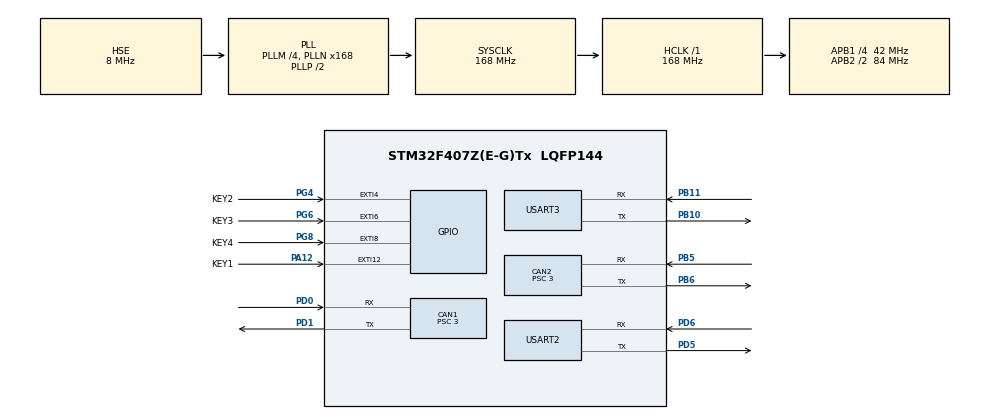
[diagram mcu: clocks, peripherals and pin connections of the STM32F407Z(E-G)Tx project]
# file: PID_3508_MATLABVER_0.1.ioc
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CAN1.BS1=CAN_BS1_9TQ
CAN1.BS2=CAN_BS2_4TQ
CAN1.CalculateBaudRate=1000000
CAN1.CalculateTimeBit=1000
CAN1.CalculateTimeQuantum=71.42857142857143
CAN1.Prescaler=3
CAN2.BS1=CAN_BS1_9TQ
CAN2.BS2=CAN_BS2_4TQ
CAN2.CalculateBaudRate=1000000
CAN2.CalculateTimeBit=1000
CAN2.CalculateTimeQuantum=71.42857142857143
CAN2.Prescaler=3
Dma.Request0=USART3_RX
Dma.Request1=USART3_TX
Dma.USART3_RX.0.Direction=DMA_PERIPH_TO_MEMORY
Dma.USART3_RX.0.FIFOMode=DMA_FIFOMODE_DISABLE
Dma.USART3_RX.0.Instance=DMA1_Stream1
Dma.USART3_RX.0.MemDataAlignment=DMA_MDATAALIGN_BYTE
Dma.USART3_RX.0.MemInc=DMA_MINC_ENABLE
Dma.USART3_RX.0.Mode=DMA_NORMAL
Dma.USART3_RX.0.PeriphDataAlignment=DMA_PDATAALIGN_BYTE
Dma.USART3_RX.0.PeriphInc=DMA_PINC_DISABLE
Dma.USART3_RX.0.Priority=DMA_PRIORITY_LOW
Dma.USART3_TX.1.Direction=DMA_MEMORY_TO_PERIPH
Dma.USART3_TX.1.FIFOMode=DMA_FIFOMODE_DISABLE
Dma.USART3_TX.1.Instance=DMA1_Stream3
Dma.USART3_TX.1.MemDataAlignment=DMA_MDATAALIGN_BYTE
Dma.USART3_TX.1.MemInc=DMA_MINC_ENABLE
Dma.USART3_TX.1.Mode=DMA_NORMAL
Dma.USART3_TX.1.PeriphDataAlignment=DMA_PDATAALIGN_BYTE
Dma.USART3_TX.1.PeriphInc=DMA_PINC_DISABLE
Dma.USART3_TX.1.Priority=DMA_PRIORITY_LOW
IWDG.Prescaler=IWDG_PRESCALER_64
IWDG.Reload=625
Mcu.Family=STM32F4
Mcu.Name=STM32F407Z(E-G)Tx
Mcu.Package=LQFP144
NVIC.CAN1_RX0_IRQn=true\:2\:0\:true\:false\:true\:true\:true\:true
NVIC.CAN1_TX_IRQn=true\:2\:0\:true\:false\:true\:true\:true\:true
NVIC.CAN2_RX0_IRQn=true\:0\:0\:false\:false\:true\:true\:true\:true
NVIC.CAN2_TX_IRQn=true\:0\:0\:false\:false\:true\:true\:true\:true
NVIC.DMA1_Stream1_IRQn=true\:0\:0\:false\:false\:true\:false\:true\:true
NVIC.DMA1_Stream3_IRQn=true\:0\:0\:false\:false\:true\:false\:true\:true
NVIC.EXTI15_10_IRQn=true\:4\:0\:true\:false\:true\:true\:true\:true
NVIC.EXTI4_IRQn=true\:4\:0\:true\:false\:true\:true\:true\:true
NVIC.EXTI9_5_IRQn=true\:4\:0\:true\:false\:true\:true\:true\:true
NVIC.PriorityGroup=NVIC_PRIORITYGROUP_4
NVIC.TIM1_UP_TIM10_IRQn=true\:1\:0\:true\:false\:true\:true\:true\:true
NVIC.USART2_IRQn=true\:2\:0\:true\:false\:true\:true\:true\:true
NVIC.USART3_IRQn=true\:2\:0\:true\:false\:true\:true\:true\:true
PA12.GPIO_Label=KEY1
PA12.GPIO_ModeDefaultEXTI=GPIO_MODE_IT_FALLING
PA12.GPIO_PuPd=GPIO_PULLUP
PA12.Signal=GPXTI12
PA13.Mode=Serial_Wire
PA13.Signal=SYS_JTMS-SWDIO
PA14.Mode=Serial_Wire
PA14.Signal=SYS_JTCK-SWCLK
PB10.Mode=Asynchronous
PB10.Signal=USART3_TX
PB11.Mode=Asynchronous
PB11.Signal=USART3_RX
PB5.Mode=CAN_Activate
PB5.Signal=CAN2_RX
PB6.Mode=CAN_Activate
PB6.Signal=CAN2_TX
PD0.Mode=CAN_Activate
PD0.Signal=CAN1_RX
PD1.Mode=CAN_Activate
PD1.Signal=CAN1_TX
PD5.Mode=Asynchronous
PD5.Signal=USART2_TX
PD6.Mode=Asynchronous
PD6.Signal=USART2_RX
PG4.GPIO_Label=KEY2
PG4.GPIO_ModeDefaultEXTI=GPIO_MODE_IT_FALLING
PG4.GPIO_PuPd=GPIO_PULLUP
PG4.Signal=GPXTI4
PG6.GPIO_Label=KEY3
PG6.GPIO_ModeDefaultEXTI=GPIO_MODE_IT_FALLING
PG6.GPIO_PuPd=GPIO_PULLUP
PG6.Signal=GPXTI6
PG8.GPIO_Label=KEY4
PG8.GPIO_ModeDefaultEXTI=GPIO_MODE_IT_FALLING
PG8.GPIO_PuPd=GPIO_PULLUP
PG8.Signal=GPXTI8
PH0-OSC_IN.Mode=HSE-External-Oscillator
PH0-OSC_IN.Signal=RCC_OSC_IN
PH1-OSC_OUT.Mode=HSE-External-Oscillator
PH1-OSC_OUT.Signal=RCC_OSC_OUT
ProjectManager.HeapSize=0x200
ProjectManager.StackSize=0x400
ProjectManager.TargetToolchain=MDK-ARM V5.32
RCC.48MHZClocksFreq_Value=84000000
RCC.AHBFreq_Value=168000000
RCC.APB1CLKDivider=RCC_HCLK_DIV4
RCC.APB1Freq_Value=42000000
RCC.APB1TimFreq_Value=84000000
RCC.APB2CLKDivider=RCC_HCLK_DIV2
RCC.APB2Freq_Value=84000000
RCC.APB2TimFreq_Value=168000000
RCC.CortexFreq_Value=168000000
RCC.HCLKFreq_Value=168000000
RCC.HSE_VALUE=8000000
RCC.HSI_VALUE=16000000
RCC.LSE_VALUE=32768
RCC.PLLM=4
RCC.PLLN=168
RCC.PLLSourceVirtual=RCC_PLLSOURCE_HSE
RCC.SYSCLKFreq_VALUE=168000000
RCC.SYSCLKSource=RCC_SYSCLKSOURCE_PLLCLK
RCC.VCOOutputFreq_Value=336000000
STMicroelectronics.X-CUBE-ALGOBUILD.1.3.0.LibraryCcDSPOoLibraryJjDSPOoLibrary=true
TIM10.AutoReloadPreload=TIM_AUTORELOAD_PRELOAD_ENABLE
TIM10.Period=1000-1
TIM10.Prescaler=168-1
USART2.VirtualMode=VM_ASYNC
USART3.VirtualMode=VM_ASYNC
VP_IWDG_VS_IWDG.Mode=IWDG_Activate
VP_STMicroelectronics.X-CUBE-ALGOBUILD_VS_DSPOoLibraryJjLibrary_1.3.0_1.3.0.Mode=DSPOoLibraryJjLibrary
VP_TIM10_VS_ClockSourceINT.Mode=Enable_Timer
board=custom

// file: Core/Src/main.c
/* USER CODE BEGIN Header */
/**
  ******************************************************************************
  * @file           : main.c
  * @brief          : Main program body
  ******************************************************************************
  * @attention
  *
  * Copyright (c) 2023 STMicroelectronics.
  * All rights reserved.
  *
  * This software is licensed under terms that can be found in the LICENSE file
  * in the root directory of this software component.
  * If no LICENSE file comes with this software, it is provided AS-IS.
  *
  ******************************************************************************
  */
/* USER CODE END Header */
#include "main.h"
#include "can.h"
#include "dma.h"
#include "iwdg.h"
#include "tim.h"
#include "usart.h"
#include "gpio.h"

/* USER CODE BEGIN Includes */

#include "pidctl.h"
#include "arm_math.h"
#include "bsp_can.h"
#include "motorctrl.h"
#include "stdio.h"
#include "CALCULATE.h"
#include "math.h"
#include "delay.h"
/* USER CODE END Includes */

/* USER CODE BEGIN PTD */
extern motor_measure_t   *motor_data[4];
extern motor_measure_t   *motor_data1[4];
extern ang_dir MotorSignal[4];
extern PhotogateAng ANGs;
typedef struct __FILE FILE;
/* USER CODE END PTD */

/* USER CODE BEGIN PD */

int receivefactor=0;
int factor=0;
int factor1=0;

int flag=0;
int flag1=0;
int dir[4];
int ang[4];
int angtemp[4];
int flagf[4];
double Vx,Vy,omega=0;

double theta[4];

double output0 = 0;
double output1 = 0;
double output2 = 0;
double output3 = 0;

double output4 = 0;
double output5 = 0;
double output6 = 0;
double output7 = 0;

DataPacket DataRe;
int16_t lx,ly,rx,ry,lp,rp;
uint8_t B1,B2;
uint8_t Cal_Parity;

double a,b,c,d=0;
uint8_t USART_FLAG=0;

/* USER CODE END PD */

void SystemClock_Config(void);

int main(void)
{

  /* MCU Configuration--------------------------------------------------------*/

  /* Reset of all peripherals, Initializes the Flash interface and the Systick. */
  HAL_Init();

  /* Configure the system clock */
  SystemClock_Config();

  /* Initialize all configured peripherals */
  MX_GPIO_Init();
  MX_DMA_Init();
  MX_CAN1_Init();
  MX_TIM10_Init();
  MX_USART3_UART_Init();
  MX_IWDG_Init();
  MX_CAN2_Init();
  MX_USART2_UART_Init();
  /* USER CODE BEGIN 2 */
	HAL_UART_Receive_DMA(&huart3, (uint8_t*)&DataRe, 1);
	pidctl_initialize();
	HAL_TIM_Base_Start_IT(&htim10); // ֐¶ϊ
	can_filter_init();
	HAL_CAN_Start(&hcan1);
	HAL_CAN_ActivateNotification(&hcan1, CAN_IT_RX_FIFO0_MSG_PENDING);
  HAL_CAN_Start(&hcan2);
	HAL_CAN_ActivateNotification(&hcan2, CAN_IT_RX_FIFO0_MSG_PENDING);

  /* USER CODE END 2 */

  /* Infinite loop */
  /* USER CODE BEGIN WHILE */

		pid3508(1.5, 0.3, 0.01);
		pid2006(1.5, 0.3, 0.01);
		Apid2006(0.5,0.1, 0.01);
//		Vx=2000;
//		Vy=2000;
//		while(ANGs.flag1!=1||ANGs.flag2!=1||ANGs.flag3!=1||ANGs.flag4!=1){
//			for(int i=0;i<4;i++)
//				MotorSignal[i].thetas=MotorSignal[i].thetas+0.1;
//		}
//				for(int i=0;i<4;i++)
//		ang[i]=ANGs.ang[i];

	while (1)
  {
for(int i=0;i<4;i++){
		if(ANGs.flag[i]!=1){
				MotorSignal[i].thetas=MotorSignal[i].thetas+0.003;

		}
}
					delay_us(100);
    /* USER CODE END WHILE */

  }
}

void SystemClock_Config(void)
{
  RCC_OscInitTypeDef RCC_OscInitStruct = {0};
  RCC_ClkInitTypeDef RCC_ClkInitStruct = {0};

  /** Configure the main internal regulator output voltage
  */
  __HAL_RCC_PWR_CLK_ENABLE();
  __HAL_PWR_VOLTAGESCALING_CONFIG(PWR_REGULATOR_VOLTAGE_SCALE1);

  /** Initializes the RCC Oscillators according to the specified parameters
  * in the RCC_OscInitTypeDef structure.
  */
  RCC_OscInitStruct.OscillatorType = RCC_OSCILLATORTYPE_LSI|RCC_OSCILLATORTYPE_HSE;
  RCC_OscInitStruct.HSEState = RCC_HSE_ON;
  RCC_OscInitStruct.LSIState = RCC_LSI_ON;
  RCC_OscInitStruct.PLL.PLLState = RCC_PLL_ON;
  RCC_OscInitStruct.PLL.PLLSource = RCC_PLLSOURCE_HSE;
  RCC_OscInitStruct.PLL.PLLM = 4;
  RCC_OscInitStruct.PLL.PLLN = 168;
  RCC_OscInitStruct.PLL.PLLP = RCC_PLLP_DIV2;
  RCC_OscInitStruct.PLL.PLLQ = 4;
  if (HAL_RCC_OscConfig(&RCC_OscInitStruct) != HAL_OK)
  {
    Error_Handler();
  }

  /** Initializes the CPU, AHB and APB buses clocks
  */
  RCC_ClkInitStruct.ClockType = RCC_CLOCKTYPE_HCLK|RCC_CLOCKTYPE_SYSCLK
                              |RCC_CLOCKTYPE_PCLK1|RCC_CLOCKTYPE_PCLK2;
  RCC_ClkInitStruct.SYSCLKSource = RCC_SYSCLKSOURCE_PLLCLK;
  RCC_ClkInitStruct.AHBCLKDivider = RCC_SYSCLK_DIV1;
  RCC_ClkInitStruct.APB1CLKDivider = RCC_HCLK_DIV4;
  RCC_ClkInitStruct.APB2CLKDivider = RCC_HCLK_DIV2;

  if (HAL_RCC_ClockConfig(&RCC_ClkInitStruct, FLASH_LATENCY_5) != HAL_OK)
  {
    Error_Handler();
  }
}

/* USER CODE BEGIN 4 */

//void HAL_UART_RxCpltCallback(UART_HandleTypeDef *huart)
//{
//		if(DataRe.header==0xAA)
//		{
//			CAL_MESSAGE();
//			HAL_UART_Receive_DMA(&huart3, (uint8_t*)&DataRe + 1, sizeof(DataPacket) - 1);
//		}
//		else if(DataRe.header!=0xAA)
//		{
//			HAL_UART_Receive_DMA(&huart3, (uint8_t*)&DataRe, 1);
//		}
//}
	void HAL_UART_RxCpltCallback(UART_HandleTypeDef *huart) {
		if (huart->Instance == USART3)
		{
			if(DataRe.header==0xAA && USART_FLAG==0)
			{
				CAL_MESSAGE();
				HAL_UART_Receive_DMA(&huart3, (uint8_t*)&DataRe+1, sizeof(DataPacket)-1);
				USART_FLAG=1;
			}
			if(DataRe.header==0xAA && USART_FLAG==1)
			{
				CAL_MESSAGE();
				HAL_UART_Receive_DMA(&huart3, (uint8_t*)&DataRe, sizeof(DataPacket));
			}
			else
			{
				HAL_UART_Receive_DMA(&huart3, (uint8_t*)&DataRe, 1);
				USART_FLAG=0;
			}
		}
		receivefactor=1;
	}

	//错误回调
	void HAL_UART_ErrorCallback(UART_HandleTypeDef *huart)
	{
		if (huart->Instance == USART3)
		{
			HAL_UART_Receive_DMA(&huart3, (uint8_t*)&DataRe, 1);
			USART_FLAG=0;
		}
	}

void HAL_TIM_PeriodElapsedCallback(TIM_HandleTypeDef *htim)
{

	if(htim == &htim10)
	{

		Vx=rx/9;
		Vy=ry/9;
		omega=lx/9;

for(int i=0;i<4;i++){
      if(ANGs.flag[i]==1&&flagf[i]!=1){
						ang[i]=ang[i]+ANGs.ang[i];
				    angtemp[i]=ANGs.ang[i];
						MotorSignal[i].thetas=0;
				    flagf[i]=1;
			}
		if(flagf[i]==1&&angtemp[i]<50)
		{
			ANGs.flag[i]=0;
			ANGs.ang[i]=0;
			flagf[i]=0;
		}
}
		if(fabs(Vx)>1000||fabs(Vy)>1000||fabs(omega)>1000){
		MotorSignal[0].thetan=atan2(Vy-omega*cos(atan(1.0/1.0)),(Vx-omega*sin(atan(1.0/1.0))))*180/PI;
		MotorSignal[1].thetan=atan2(Vy+omega*cos(atan(1.0/1.0)),(Vx-omega*sin(atan(1.0/1.0))))*180/PI;
		MotorSignal[2].thetan=atan2(Vy+omega*cos(atan(1.0/1.0)),Vx+omega*sin(atan(1.0/1.0)))*180/PI;
		MotorSignal[3].thetan=atan2(Vy-omega*cos(atan(1.0/1.0)),Vx+omega*sin(atan(1.0/1.0)))*180/PI;
			a=atan2(Vy-omega*cos(atan(1.0/1.0)),(Vx-omega*sin(atan(1.0/1.0))))*180/PI;
			for(int i=0;i<4;i++){
			if(fabs(MotorSignal[i].thetan-90)<1)
				MotorSignal[i].thetan=91;
			if(fabs(MotorSignal[i].thetan+90)<1)
				MotorSignal[i].thetan=-89;}

			flag1=1;
		}else
		flag1=0;

for(int i=0;i<4;i++){
      cala_d(i);
			if(fabs((double)((int)MotorSignal[i].thetas%360-90))<1)
				MotorSignal[i].thetas=91+(int)MotorSignal[i].thetas/360*360;
			if(fabs((double)((int)MotorSignal[i].thetas%360+90))<1)
				MotorSignal[i].thetas=-89+(int)MotorSignal[i].thetas/360*360;
			if(fabs((double)((int)MotorSignal[i].thetas%360-270))<1)
				MotorSignal[i].thetas=271+(int)MotorSignal[i].thetas/360*360;
			if(fabs((double)((int)MotorSignal[i].thetas%360+270))<1)
				MotorSignal[i].thetas=-269+(int)MotorSignal[i].thetas/360*360;
			theta[i]=MotorSignal[i].thetas+ang[i];
			dir[i]=MotorSignal[i].dir;
      MotorSignal[i].thetal=MotorSignal[i].thetan;
}

		ctrlmotor( Vx,  Vy,  omega,dir[0],dir[1],dir[2],dir[3],flag1);

			factor1++;

		if(receivefactor==0)//没接收到就增加标志位
			factor++;
		if(factor>300){
			Vx=0;
			Vy=0;
			omega=0;
			rx=0;
			ry=0;
			lx=0;
			ly=0;
			factor=301;
		}//1s没收到就全部停下
		if(receivefactor==1)//接收到就标志位置0
			factor=0;

		if (factor1==50){
			receivefactor=0;//0.05s更新1次确定为没接收到
			factor1=0;
		}

		HAL_IWDG_Refresh(&hiwdg);//喂狗

		/* SPD TEST */

    rtU.aspd0 = motor_data[0]->speed_rpm;

		rtU.aspd1 = motor_data[1]->speed_rpm;

		rtU.aspd2 = motor_data[2]->speed_rpm;

		rtU.aspd3 = motor_data[3]->speed_rpm;
//
    output0 = rtY.Out0 ;
		output1 = rtY.Out1 ;
		output2 = rtY.Out2 ;
		output3 = rtY.Out3 ;

		CAN1_cmd_chassis(output0, output1,output2,output3);

		rtU.yaw_status0    = 2 ;// ANG
		rtU.yaw_speed_rpm0 = motor_data1[0]->speed_rpm;
		rtU.yaw_ecd0       = motor_data1[0]->ecd;
		rtU.yaw_last_ecd0  = motor_data1[0]->last_ecd;
		rtU.yaw_target0    = theta[0]*36*8191*47/(17*360);
		rtU.yaw_circle0    = motor_data1[0]->circle;

		output4 = rtY.yaw_ANG_OUT0 ;

		rtU.yaw_status1    = 2 ;// ANG
		rtU.yaw_speed_rpm1 = motor_data1[1]->speed_rpm;
		rtU.yaw_ecd1       = motor_data1[1]->ecd;
		rtU.yaw_last_ecd1  = motor_data1[1]->last_ecd;
		rtU.yaw_target1    = theta[1]*36*8191*47/(17*360);
		rtU.yaw_circle1    = motor_data1[1]->circle;

		output5 = rtY.yaw_ANG_OUT1 ;

		rtU.yaw_status2    = 2 ;// ANG
		rtU.yaw_speed_rpm2 = motor_data1[2]->speed_rpm;
		rtU.yaw_ecd2       = motor_data1[2]->ecd;
		rtU.yaw_last_ecd2 = motor_data1[2]->last_ecd;
		rtU.yaw_target2    =  theta[2]*36*8191*47/(17*360);
		rtU.yaw_circle2    = motor_data1[2]->circle;

		output6 = rtY.yaw_ANG_OUT2 ;

		rtU.yaw_status3    = 2 ;// ANG
		rtU.yaw_speed_rpm3 = motor_data1[3]->speed_rpm;
		rtU.yaw_ecd3       = motor_data1[3]->ecd;
		rtU.yaw_last_ecd3  = motor_data1[3]->last_ecd;
		rtU.yaw_target3   =  theta[3]*36*8191*47/(17*360);
		rtU.yaw_circle3    = motor_data1[3]->circle;

		output7 = rtY.yaw_ANG_OUT3 ;

    /* OUT PUT */

    pidctl_step();

		CAN2_cmd_chassis(output4, output5,output6,output7);

		// data update
		motor_state_update();
		motor_state_update1();
	}

}
/* USER CODE END 4 */

void Error_Handler(void)
{
  __disable_irq();
  while (1)
  {
  }
}
